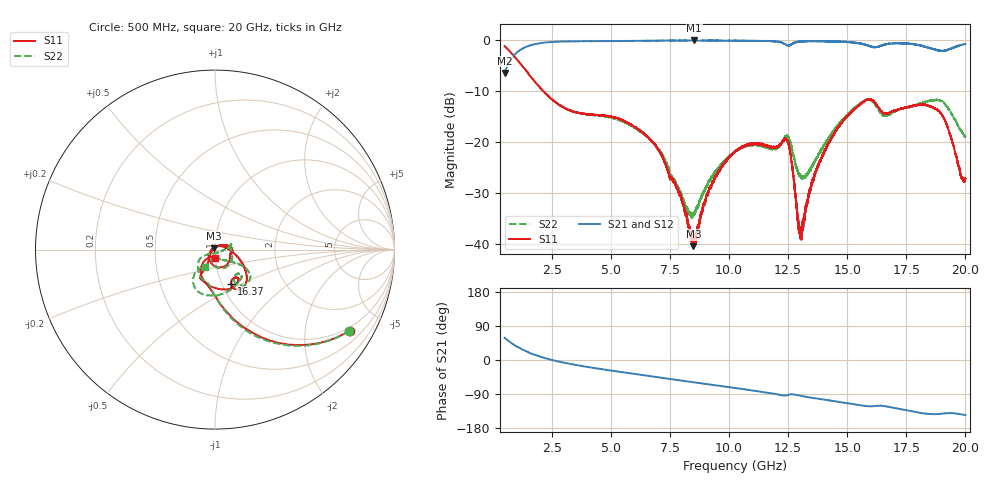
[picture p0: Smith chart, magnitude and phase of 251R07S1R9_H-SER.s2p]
!{201R07S1R9}
!Johanson Technology Inc.
!www.johansontechnology.com
!Test Board Conditions:
!Substrate Type  RO4350B
!Substrate Thickness  10 mil
!Substrate Dk  3.66
!TL Type: GCPW
!TL Trace Width  21 mil
!TL Gap  20 mil
!Electrode orientation  Horizontal
!DUT TOPOLOGY	SERIES
!Mounting Pad LxW  16x21 mil
!Agilent Technologies,N5230A,MY45001966,A.07.50.67
!Agilent N5230A: A.07.50.67
! Created Mon Mar  9 16:25:40 2020
# mhz S ma R 50
! 2 Port Network Data from SP1.SP block
! freq  magS11  angS11  magS21  angS21  magS12  angS12  magS22  angS22
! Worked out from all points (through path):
!   19501 points, 500 MHz to 20 GHz, reference 50 ohm
!   highest |S21| = -0.04 dB at 8.518 GHz (marker M1); lowest = -6.4 dB at 500 MHz (marker M2)
!   group delay of S21, straight-line fit = 25 ps
!   lowest |S11| = -40.5 dB at 8.488 GHz (marker M3), VSWR 1.02, Z = 49.3 + j0.682 ohm
!   |S11| at or under -10 dB: 2.135 GHz to 2.136 GHz (1 MHz wide, 0.0468 % of centre); 2.137 GHz to end of sweep
!   |S22| runs from -34.9 to -1.2 dB; largest |S21 - S12| = 0.015
!   S11 on the Smith chart (normalised r, x): 500 MHz: 0.88, -3.39; 16.37 GHz: 1.10, -0.44; 20 GHz: 0.99, -0.09
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500  0.8753 -31.0  0.4776 58.5  0.4792 58.6  0.8747 -31.1
967  0.6698 -52.2  0.7392 37.3  0.738 37.3  0.6709 -52.6
1721  0.4068 -74.6  0.9095 14.7  0.9102 14.7  0.409 -75.1
3750  0.191 -107.6  0.977 -15.7  0.9769 -15.6  0.1907 -102.5
5524  0.1631 -119.4  0.9821 -32.6  0.9817 -32.6  0.1589 -124.6
7000  0.08448 -118.3  0.9913 -45.8  0.9913 -45.8  0.08574 -150.5
7896  0.03154 -142.8  0.9924 -53.7  0.9936 -53.6  0.03337 -136.0
8488  0.009491 133.2  0.9933 -58.6  0.9946 -58.7  0.02015 -64.4
8518  0.01014 124.1  0.9952 -59.0  0.9943 -59.0  0.02013 -58.1
9227  0.03655 39.6  0.9921 -65.0  0.9904 -65.0  0.04413 -7.2
10250  0.08098 13.3  0.9892 -73.8  0.988 -73.8  0.08114 10.2
12430  0.1058 -65.4  0.8927 -93.4  0.8997 -93.6  0.1149 -48.8
12614  0.07191 -112.2  0.9058 -90.7  0.9086 -91.0  0.09614 -89.4
13023  0.01157 128.3  0.9744 -94.5  0.9706 -94.6  0.04595 -100.5
13500  0.03919 31.1  0.9816 -99.7  0.9804 -99.6  0.05687 -65.0
15011  0.1807 -28.9  0.9576 -114.2  0.9582 -114.1  0.1871 -30.9
15856  0.2608 -50.8  0.8903 -121.9  0.8929 -121.9  0.2604 -44.3
16372  0.2093 -64.8  0.8713 -120.6  0.87 -120.5  0.1981 -58.0
16750  0.1919 -53.7  0.9244 -123.5  0.9174 -123.6  0.1855 -46.3
17837  0.2289 -59.2  0.9097 -136.7  0.9125 -136.6  0.2277 -57.8
18854  0.2039 -99.0  0.7941 -142.7  0.7963 -142.4  0.2577 -104.7
20000  0.04413 -93.3  0.9171 -145.6  0.9175 -145.4  0.1123 -119.4
